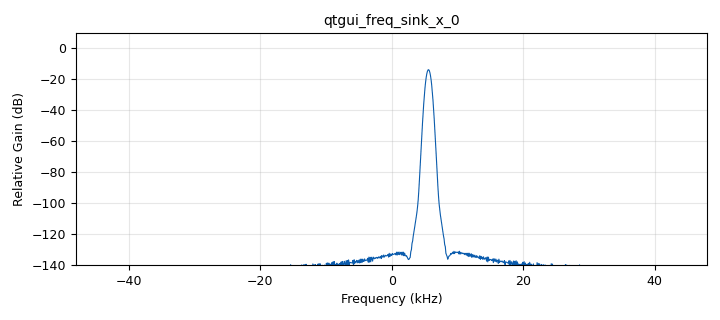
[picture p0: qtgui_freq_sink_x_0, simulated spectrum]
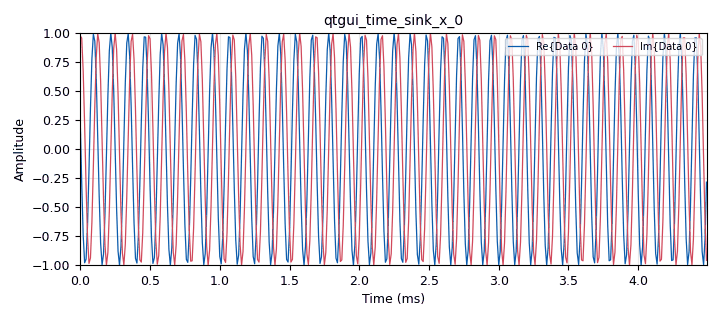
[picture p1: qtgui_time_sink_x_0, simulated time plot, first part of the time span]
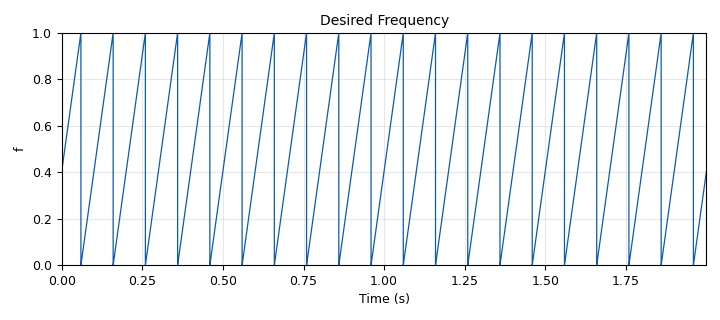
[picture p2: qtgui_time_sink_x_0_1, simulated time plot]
options:
  parameters:
    author: Ben Cometto
    generate_options: qt_gui
    id: fmcw_test
    output_language: python
    title: FMCW Test
  states: {}

blocks:
- name: max_freq
  id: variable
  parameters:
    value: '20000'
  states: {}
- name: samp_rate
  id: variable
  parameters:
    value: '96000'
  states: {}
- name: analog_sig_source_x_0
  id: analog_sig_source_x
  parameters:
    amp: '1'
    freq: '10'
    offset: '0'
    phase: '0'
    samp_rate: samp_rate
    type: float
    waveform: analog.GR_SAW_WAVE
  states: {}
- name: blocks_delay_0
  id: blocks_delay
  parameters:
    delay: '100'
    type: complex
  states: {state: disabled}
- name: blocks_multiply_conjugate_cc_0
  id: blocks_multiply_conjugate_cc
  parameters: {}
  states: {state: disabled}
- name: blocks_multiply_xx_0
  id: blocks_multiply_xx
  parameters:
    type: complex
  states: {state: disabled}
- name: blocks_throttle2_0
  id: blocks_throttle2
  parameters:
    samples_per_second: samp_rate
    type: float
  states: {}
- name: blocks_vco_c_0
  id: blocks_vco_c
  parameters:
    amplitude: '1'
    samp_rate: samp_rate
    sensitivity: 2*np.pi*(max_freq)
  states: {}
- name: import_0
  id: import
  parameters:
    imports: import numpy as np
  states: {}
- name: qtgui_freq_sink_x_0
  id: qtgui_freq_sink_x
  parameters:
    bw: samp_rate
    ctrlpanel: 'True'
    fc: '0'
    fftsize: '1024'
    type: complex
  states: {}
- name: qtgui_freq_sink_x_0_0
  id: qtgui_freq_sink_x
  parameters:
    bw: samp_rate
    fc: '0'
    fftsize: '1024'
    type: complex
  states: {state: disabled}
- name: qtgui_time_sink_x_0
  id: qtgui_time_sink_x
  parameters:
    ctrlpanel: 'True'
    size: samp_rate*2
    srate: samp_rate
    type: complex
  states: {}
- name: qtgui_time_sink_x_0_0
  id: qtgui_time_sink_x
  parameters:
    size: samp_rate
    srate: samp_rate
    type: complex
  states: {state: disabled}
- name: qtgui_time_sink_x_0_1
  id: qtgui_time_sink_x
  parameters:
    ctrlpanel: 'True'
    name: '"Desired Frequency"'
    size: samp_rate*2
    srate: samp_rate
    type: float
    ylabel: '"f"'
    ymin: '0'
    yunit: '"t"'
  states: {}
- name: virtual_sink_0
  id: virtual_sink
  parameters: {}
  states: {}
- name: virtual_source_0
  id: virtual_source
  parameters: {}
  states: {state: disabled}

connections:
- [analog_sig_source_x_0, '0', blocks_throttle2_0, '0']
- [blocks_delay_0, '0', blocks_multiply_conjugate_cc_0, '1']
- [blocks_delay_0, '0', blocks_multiply_xx_0, '1']
- [blocks_multiply_conjugate_cc_0, '0', qtgui_freq_sink_x_0_0, '0']
- [blocks_multiply_conjugate_cc_0, '0', qtgui_time_sink_x_0_0, '0']
- [blocks_multiply_xx_0, '0', qtgui_freq_sink_x_0_0, '0']
- [blocks_multiply_xx_0, '0', qtgui_time_sink_x_0_0, '0']
- [blocks_throttle2_0, '0', blocks_vco_c_0, '0']
- [blocks_throttle2_0, '0', qtgui_time_sink_x_0_1, '0']
- [blocks_vco_c_0, '0', qtgui_freq_sink_x_0, '0']
- [blocks_vco_c_0, '0', qtgui_time_sink_x_0, '0']
- [blocks_vco_c_0, '0', virtual_sink_0, '0']
- [virtual_source_0, '0', blocks_delay_0, '0']
- [virtual_source_0, '0', blocks_multiply_conjugate_cc_0, '0']
- [virtual_source_0, '0', blocks_multiply_xx_0, '0']

metadata:
  file_format: 1
  grc_version: 3.10.10.0
